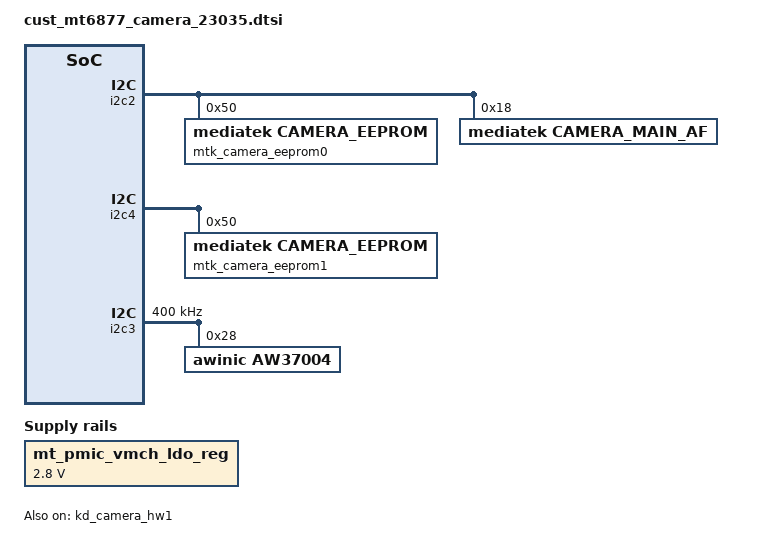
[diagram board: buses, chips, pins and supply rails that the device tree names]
/*
 * Copyright (c) 2019 MediaTek Inc.
 *
 * This program is free software; you can redistribute it and/or modify
 * it under the terms of the GNU General Public License version 2 as
 * published by the Free Software Foundation.
 *
 * This program is distributed in the hope that it will be useful,
 * but WITHOUT ANY WARRANTY; without even the implied warranty of
 * MERCHANTABILITY or FITNESS FOR A PARTICULAR PURPOSE.  See the
 * GNU General Public License for more details.
 */
/* CAMERA GPIO standardization */
&pio {
	camera_pins_cam0_rst_0: cam0@0 {
		pins_cmd_dat {
			pinmux = <PINMUX_GPIO157__FUNC_GPIO157>;
			slew-rate = <1>;
			output-low;
		};
	};
	camera_pins_cam0_rst_1: cam0@1 {
		pins_cmd_dat {
			pinmux = <PINMUX_GPIO157__FUNC_GPIO157>;
			slew-rate = <1>;
			output-high;
		};
	};

	camera_pins_cam1_rst_0: cam1@0 {
		pins_cmd_dat {
			pinmux = <PINMUX_GPIO155__FUNC_GPIO155>;
			slew-rate = <1>;
			output-low;
		};
	};
	camera_pins_cam1_rst_1: cam1@1 {
		pins_cmd_dat {
			pinmux = <PINMUX_GPIO155__FUNC_GPIO155>;
			slew-rate = <1>;
			output-high;
		};
	};

	camera_pins_cam2_rst_0: cam2@0 {
		pins_cmd_dat {
			pinmux = <PINMUX_GPIO161__FUNC_GPIO161>;
			slew-rate = <1>;
			output-low;
		};
	};
	camera_pins_cam2_rst_1: cam2@1 {
		pins_cmd_dat {
			pinmux = <PINMUX_GPIO161__FUNC_GPIO161>;
			slew-rate = <1>;
			output-high;
		};
	};

	camera_pins_cam0_mclk_off: camera_pins_cam0_mclk_off {
		pins_cmd_dat {
			pinmux = <PINMUX_GPIO150__FUNC_GPIO150>;
			drive-strength = <1>;
		};
	};
	camera_pins_cam0_mclk_2ma: camera_pins_cam0_mclk_2ma {
		pins_cmd_dat {
			pinmux = <PINMUX_GPIO150__FUNC_CMMCLK1>;
			drive-strength = <0>;
		};
	};
	camera_pins_cam0_mclk_4ma: camera_pins_cam0_mclk_4ma {
		pins_cmd_dat {
			pinmux = <PINMUX_GPIO150__FUNC_CMMCLK1>;
			drive-strength = <1>;
		};
	};
	camera_pins_cam0_mclk_6ma: camera_pins_cam0_mclk_6ma {
		pins_cmd_dat {
			pinmux = <PINMUX_GPIO150__FUNC_CMMCLK1>;
			drive-strength = <2>;
		};
	};
	camera_pins_cam0_mclk_8ma: camera_pins_cam0_mclk_8ma {
		pins_cmd_dat {
			pinmux = <PINMUX_GPIO150__FUNC_CMMCLK1>;
			drive-strength = <3>;
		};
	};
	camera_pins_cam1_mclk_off: camera_pins_cam1_mclk_off {
		pins_cmd_dat {
			pinmux = <PINMUX_GPIO153__FUNC_GPIO153>;
			drive-strength = <1>;
		};
	};
	camera_pins_cam1_mclk_2ma: camera_pins_cam1_mclk_2ma {
		pins_cmd_dat {
			pinmux = <PINMUX_GPIO153__FUNC_CMMCLK4>;
			drive-strength = <0>;
		};
	};
	camera_pins_cam1_mclk_4ma: camera_pins_cam1_mclk_4ma {
		pins_cmd_dat {
			pinmux = <PINMUX_GPIO153__FUNC_CMMCLK4>;
			drive-strength = <1>;
		};
	};
	camera_pins_cam1_mclk_6ma: camera_pins_cam1_mclk_6ma {
		pins_cmd_dat {
			pinmux = <PINMUX_GPIO153__FUNC_CMMCLK4>;
			drive-strength = <2>;
		};
	};
	camera_pins_cam1_mclk_8ma: camera_pins_cam1_mclk_8ma {
		pins_cmd_dat {
			pinmux = <PINMUX_GPIO153__FUNC_CMMCLK4>;
			drive-strength = <3>;
		};
	};
	camera_pins_cam2_mclk_off: camera_pins_cam2_mclk_off {
		pins_cmd_dat {
			pinmux = <PINMUX_GPIO151__FUNC_GPIO151>;
			drive-strength = <1>;
		};
	};
	camera_pins_cam2_mclk_2ma: camera_pins_cam2_mclk_2ma {
		pins_cmd_dat {
			pinmux = <PINMUX_GPIO151__FUNC_CMMCLK2>;
			drive-strength = <0>;
		};
	};
	camera_pins_cam2_mclk_4ma: camera_pins_cam2_mclk_4ma {
		pins_cmd_dat {
			pinmux = <PINMUX_GPIO151__FUNC_CMMCLK2>;
			drive-strength = <1>;
		};
	};
	camera_pins_cam2_mclk_6ma: camera_pins_cam2_mclk_6ma {
		pins_cmd_dat {
			pinmux = <PINMUX_GPIO151__FUNC_CMMCLK2>;
			drive-strength = <2>;
		};
	};
	camera_pins_cam2_mclk_8ma: camera_pins_cam2_mclk_8ma {
		pins_cmd_dat {
			pinmux = <PINMUX_GPIO151__FUNC_CMMCLK2>;
			drive-strength = <3>;
		};
	};
	camera_pins_default: camdefault {
	};
};
&kd_camera_hw1 {
	pinctrl-names = "default",
			"cam0_rst0", "cam0_rst1",
			"cam1_rst0", "cam1_rst1",
			"cam2_rst0", "cam2_rst1",
			"cam0_mclk_off",
			"cam0_mclk_2mA", "cam0_mclk_4mA",
			"cam0_mclk_6mA", "cam0_mclk_8mA",
			"cam1_mclk_off",
			"cam1_mclk_2mA", "cam1_mclk_4mA",
			"cam1_mclk_6mA", "cam1_mclk_8mA",
			"cam2_mclk_off",
			"cam2_mclk_2mA", "cam2_mclk_4mA",
			"cam2_mclk_6mA", "cam2_mclk_8mA";

	pinctrl-0 = <&camera_pins_default>;
	pinctrl-1 = <&camera_pins_cam0_rst_0>;
	pinctrl-2 = <&camera_pins_cam0_rst_1>;
	pinctrl-3 = <&camera_pins_cam1_rst_0>;
	pinctrl-4 = <&camera_pins_cam1_rst_1>;
	pinctrl-5 = <&camera_pins_cam2_rst_0>;
	pinctrl-6 = <&camera_pins_cam2_rst_1>;
	pinctrl-7 = <&camera_pins_cam0_mclk_off>;
	pinctrl-8 = <&camera_pins_cam0_mclk_2ma>;
	pinctrl-9 = <&camera_pins_cam0_mclk_4ma>;
	pinctrl-10 = <&camera_pins_cam0_mclk_6ma>;
	pinctrl-11 = <&camera_pins_cam0_mclk_8ma>;
	pinctrl-12 = <&camera_pins_cam1_mclk_off>;
	pinctrl-13 = <&camera_pins_cam1_mclk_2ma>;
	pinctrl-14 = <&camera_pins_cam1_mclk_4ma>;
	pinctrl-15 = <&camera_pins_cam1_mclk_6ma>;
	pinctrl-16 = <&camera_pins_cam1_mclk_8ma>;
	pinctrl-17 = <&camera_pins_cam2_mclk_off>;
	pinctrl-18 = <&camera_pins_cam2_mclk_2ma>;
	pinctrl-19 = <&camera_pins_cam2_mclk_4ma>;
	pinctrl-20 = <&camera_pins_cam2_mclk_6ma>;
	pinctrl-21 = <&camera_pins_cam2_mclk_8ma>;

	cam0_vcamio-supply = <&mt_pmic_vcamio_ldo_reg>;
	cam0_vcamaf-supply = <&mt_pmic_vmch_ldo_reg>;

	cam1_vcamio-supply = <&mt_pmic_vcamio_ldo_reg>;
	cam2_vcamio-supply = <&mt_pmic_vcamio_ldo_reg>;

	cam0_enable_sensor = "ov64b_mipi_raw23035";
	cam1_enable_sensor = "ov08d_mipi_raw23035";
	cam2_enable_sensor = "ov02b1b_mipi_raw23035";

	status = "okay";
};
/* CAMERA GPIO end */

/*modify AF Voltage to 2.8V*/
&mt_pmic_vmch_ldo_reg {
	regulator-min-microvolt = <2800000>;
	regulator-max-microvolt = <2800000>;
};

 /*CAMERA EEPROM*/
&i2c2 {
	mtk_camera_eeprom0:camera_eeprom0@50 {
		compatible = "mediatek,camera_eeprom";
		reg = <0x50>;
		status = "okay";
	};
	camera_main_af:camera_main_af@18 {
		compatible = "mediatek,camera_main_af";
		reg = <0x18>;
		status = "okay";
	};
};
&i2c4 {
	mtk_camera_eeprom1:camera_eeprom1@50 {
		compatible = "mediatek,camera_eeprom";
		reg = <0x50>;
		status = "okay";
	};
};
&i2c3 {
	status = "okay";
	clock-frequency = <400000>;
	mediatek,use-push-pull;
	#address-cells = <1>;
	#size-cells = <0>;
	aw37004@28{
		compatible = "awinic,aw37004";
		reg = <0x28>;
		status = "okay";
	};
};
/* CAMERA EEPROM end */
